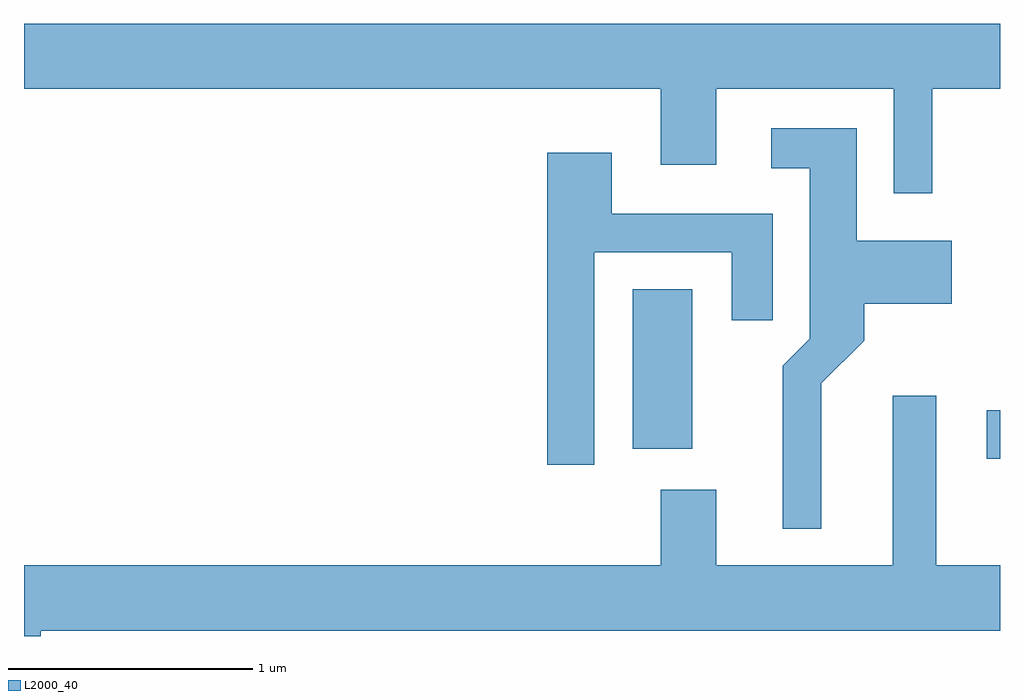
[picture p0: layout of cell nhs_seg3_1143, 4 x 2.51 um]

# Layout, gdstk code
import gdstk
lib = gdstk.Library(unit=1e-6, precision=1e-09)
def R(c, l, rs):  # rectangles x0, y0, x1, y1
    for r in rs: c.add(gdstk.rectangle(r[:2], r[2:], *l))
def P(c, l, *ps):  # polygons
    for p in ps: c.add(gdstk.Polygon(p, *l))
L2000_40 = (2000, 40)

nhs_seg3_1143 = lib.new_cell('nhs_seg3_1143')
R(nhs_seg3_1143, L2000_40, [(221.556,1226.621,221.611,1226.819), (220.106,1226.661,220.349,1227.314)])
P(nhs_seg3_1143, L2000_40, [(221.334,1228.136),(221.611,1228.136),(221.611,1228.404),(217.611,1228.404),(217.611,1228.136),(220.221,1228.136),(220.221,1227.826),(220.449,1227.826),(220.449,1228.136),(221.176,1228.136),(221.176,1227.708),(221.334,1227.708)],
  [(220.879,1226.929),(221.054,1227.104),(221.054,1227.256),(221.414,1227.256),(221.414,1227.514),(221.024,1227.514),(221.024,1227.974),(220.673,1227.974),(220.673,1227.811),(220.831,1227.811),(220.831,1227.112),(220.721,1227.002),(220.721,1226.333),(220.879,1226.333)],
  [(219.949,1227.466),(220.511,1227.466),(220.511,1227.188),(220.679,1227.188),(220.679,1227.624),(220.019,1227.624),(220.019,1227.874),(219.756,1227.874),(219.756,1226.596),(219.949,1226.596)],
  [(217.679,1225.916),(221.611,1225.916),(221.611,1226.184),(221.349,1226.184),(221.349,1226.879),(221.171,1226.879),(221.171,1226.184),(220.449,1226.184),(220.449,1226.494),(220.221,1226.494),(220.221,1226.184),(217.611,1226.184),(217.611,1225.892),(217.679,1225.892)])

lib.write_gds('nhs_seg3_1143.gds')
